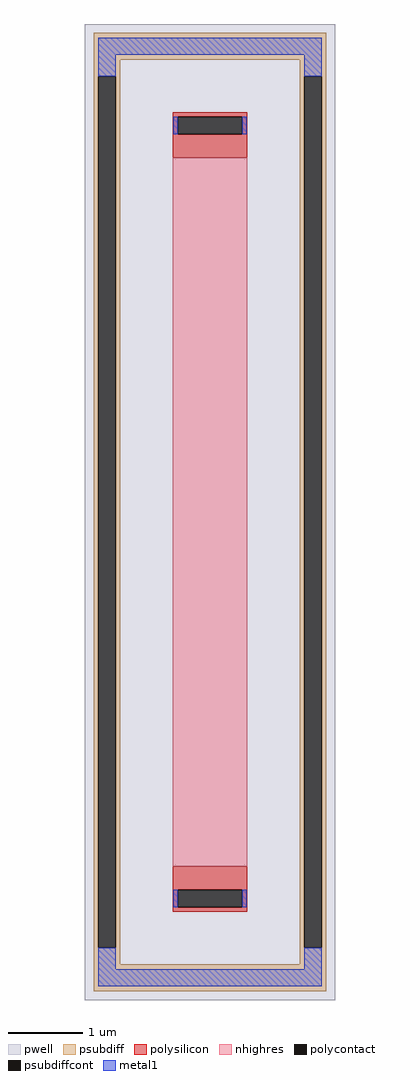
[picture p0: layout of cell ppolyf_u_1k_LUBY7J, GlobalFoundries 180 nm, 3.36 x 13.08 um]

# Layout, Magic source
magic
tech gf180mcuD
magscale 1 10
<< pwell >>
rect -336 -1308 336 1308
<< psubdiff >>
rect -312 1212 312 1284
rect -312 1168 -240 1212
rect -312 -1168 -299 1168
rect -253 -1168 -240 1168
rect 240 1168 312 1212
rect -312 -1212 -240 -1168
rect 240 -1168 253 1168
rect 299 -1168 312 1168
rect 240 -1212 312 -1168
rect -312 -1284 312 -1212
<< psubdiffcont >>
rect -299 -1168 -253 1168
rect 253 -1168 299 1168
<< polysilicon >>
rect -100 1059 100 1072
rect -100 1013 -87 1059
rect 87 1013 100 1059
rect -100 950 100 1013
rect -100 -1013 100 -950
rect -100 -1059 -87 -1013
rect 87 -1059 100 -1013
rect -100 -1072 100 -1059
<< polycontact >>
rect -87 1013 87 1059
rect -87 -1059 87 -1013
<< nhighres >>
rect -100 -950 100 950
<< metal1 >>
rect -299 1225 299 1271
rect -299 1168 -253 1225
rect 253 1168 299 1225
rect -98 1013 -87 1059
rect 87 1013 98 1059
rect -98 -1059 -87 -1013
rect 87 -1059 98 -1013
rect -299 -1225 -253 -1168
rect 253 -1225 299 -1168
rect -299 -1271 299 -1225
<< properties >>
string FIXED_BBOX -276 -1248 276 1248
string gencell ppolyf_u_1k
string library gf180mcu
string parameters w 1.0 l 9.5 m 1 nx 1 wmin 1.000 lmin 1.000 class resistor rho 1000 val 9.5k dummy 0 dw 0.0 term 0.0 sterm 0.0 caplen 0.4 snake 0 glc 1 grc 1 gtc 0 gbc 0 roverlap 0 endcov 100 full_metal 1 compatible {ppolyf_u_1k ppolyf_u_1k_6p0}
<< end >>
